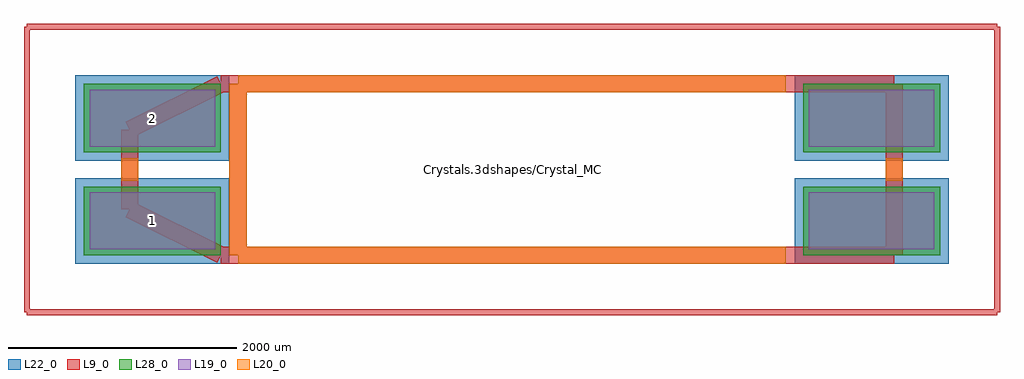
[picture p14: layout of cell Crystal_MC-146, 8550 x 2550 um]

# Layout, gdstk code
import gdstk
lib = gdstk.Library(unit=1e-6, precision=1e-09)
def R(c, l, rs):  # rectangles x0, y0, x1, y1
    for r in rs: c.add(gdstk.rectangle(r[:2], r[2:], *l))
L9_0 = (9, 0)
L19_0 = (19, 0)
L20_0 = (20, 0)
L22_0 = (22, 0)
L28_0 = (28, 0)

crystal_mc_146 = lib.new_cell('Crystal_MC-146')
R(crystal_mc_146, L19_0, [(-3700,-700,-2600,-200), (2600,-700,3700,-200), (-3700,200,-2600,700), (2600,200,3700,700)])
R(crystal_mc_146, L22_0, [(-3825,-825,-2475,-75), (2475,-825,3825,-75), (-3825,75,-2475,825), (2475,75,3825,825)])
R(crystal_mc_146, L28_0, [(-3750,-750,-2550,-150), (2550,-750,3750,-150), (-3750,150,-2550,750), (2550,150,3750,750)])
crystal_mc_146.add(gdstk.FlexPath([(-2550,-750),(3350,-750)], 149.998, ends="flush", simple_path=True, layer=9, datatype=0))  # L9_0
crystal_mc_146.add(gdstk.FlexPath([(3350,750),(-2550,750)], 149.998, ends="flush", simple_path=True, layer=9, datatype=0))  # L9_0
crystal_mc_146.add(gdstk.FlexPath([(-3350,-350),(-3350,350)], 149.998, ends="flush", simple_path=True, layer=9, datatype=0))  # L9_0
crystal_mc_146.add(gdstk.FlexPath([(3350,750),(3350,-750)], 149.998, ends="flush", simple_path=True, layer=9, datatype=0))  # L9_0
crystal_mc_146.add(gdstk.FlexPath([(-3350,350),(-2550,750)], 149.998, ends="flush", simple_path=True, layer=9, datatype=0))  # L9_0
crystal_mc_146.add(gdstk.FlexPath([(-3350,-350),(-2550,-750)], 149.998, ends="flush", simple_path=True, layer=9, datatype=0))  # L9_0
crystal_mc_146.add(gdstk.FlexPath([(-2400,750),(-2400,-750)], 149.998, ends="flush", simple_path=True, layer=9, datatype=0))  # L9_0
crystal_mc_146.add(gdstk.FlexPath([(-4250,-1250),(4250,-1250)], 50, ends="flush", simple_path=True, layer=9, datatype=0))  # L9_0
crystal_mc_146.add(gdstk.FlexPath([(-4250,1250),(-4250,-1250)], 50, ends="flush", simple_path=True, layer=9, datatype=0))  # L9_0
crystal_mc_146.add(gdstk.FlexPath([(4250,1250),(-4250,1250)], 50, ends="flush", simple_path=True, layer=9, datatype=0))  # L9_0
crystal_mc_146.add(gdstk.FlexPath([(4250,-1250),(4250,1250)], 50, ends="flush", simple_path=True, layer=9, datatype=0))  # L9_0
crystal_mc_146.add(gdstk.FlexPath([(-2400,-750),(2400,-750)], 149.998, ends="flush", simple_path=True, layer=20, datatype=0))  # L20_0
crystal_mc_146.add(gdstk.FlexPath([(-2400,750),(2400,750)], 149.998, ends="flush", simple_path=True, layer=20, datatype=0))  # L20_0
crystal_mc_146.add(gdstk.FlexPath([(3350,100),(3350,-100)], 149.998, ends="flush", simple_path=True, layer=20, datatype=0))  # L20_0
crystal_mc_146.add(gdstk.FlexPath([(-3350,100),(-3350,-100)], 149.998, ends="flush", simple_path=True, layer=20, datatype=0))  # L20_0
crystal_mc_146.add(gdstk.FlexPath([(-2400,750),(-2400,-750)], 149.998, ends="flush", simple_path=True, layer=20, datatype=0))  # L20_0
crystal_mc_146.add(gdstk.Label('Crystals.3dshapes/Crystal_MC-146.wrl', (0,0), layer=12, texttype=0))
crystal_mc_146.add(gdstk.Label('2', (-3150,450), layer=28, texttype=0))
crystal_mc_146.add(gdstk.Label('1', (-3150,-450), layer=28, texttype=0))
crystal_mc_146.add(gdstk.Label('type', (0,-2000), layer=9, texttype=0))
crystal_mc_146.add(gdstk.Label('devicename', (0,1900), layer=9, texttype=0))

lib.write_gds('Crystal_MC-146.gds')
